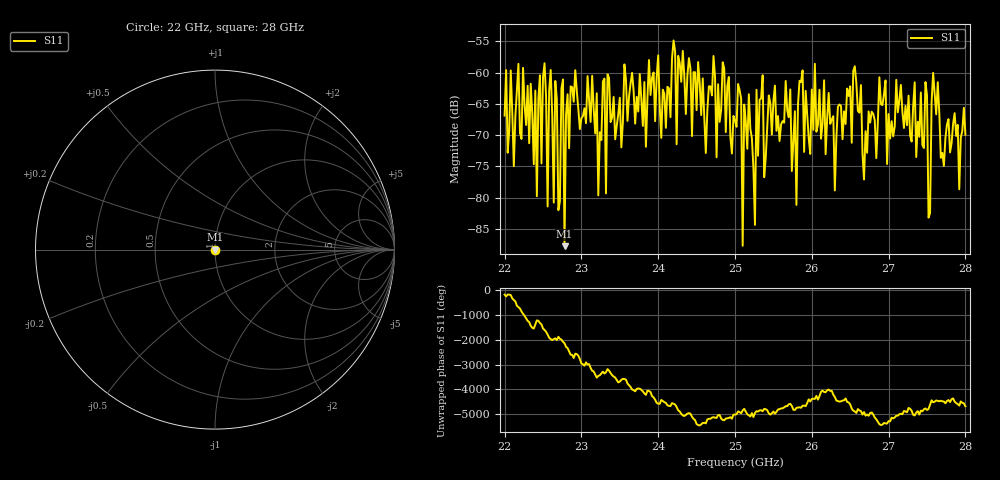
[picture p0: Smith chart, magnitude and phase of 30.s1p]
#  HZ  S  RI  R  50.00
! Rohde & Schwarz ZVA40 4Ports - Version 3.90 - 1145.1110k42 SN: 100403
! Date: 2023-10-04 08:01:50
! Measurement: S12
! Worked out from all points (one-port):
!   301 points, 22 GHz to 28 GHz, reference 50 ohm
!   lowest |S11| = -87.8 dB at 22.78 GHz (marker M1), VSWR 1.00, Z = 50 + j0.00144 ohm
!   |S11| at or under -10 dB: start of sweep to end of sweep
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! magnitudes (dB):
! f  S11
! 22 GHz  -66.9
! 22.4 GHz  -62.9
! 22.42 GHz  -79.8
! 22.52 GHz  -58.5
! 22.56 GHz  -81.4
! 22.6 GHz  -59.6
! 22.72 GHz  -80.6
! 22.76 GHz  -61.1
! 22.78 GHz  -87.8
! 22.92 GHz  -59.6
! 23.2 GHz  -63.3
! 23.22 GHz  -79.7
! 23.28 GHz  -61.4
! 23.32 GHz  -79.3
! 23.34 GHz  -60.3
! 23.5 GHz  -64.0
! 24.26 GHz  -57.3
! 25 GHz  -67.7
! 25.76 GHz  -71.1
! 26.04 GHz  -58.6
! 26.3 GHz  -78.9
! 26.5 GHz  -62.2
! 26.68 GHz  -77.1
! 27.26 GHz  -63.7
! 27.48 GHz  -61.5
! 27.52 GHz  -83.2
! 27.58 GHz  -60.0
! 28 GHz  -69.9
